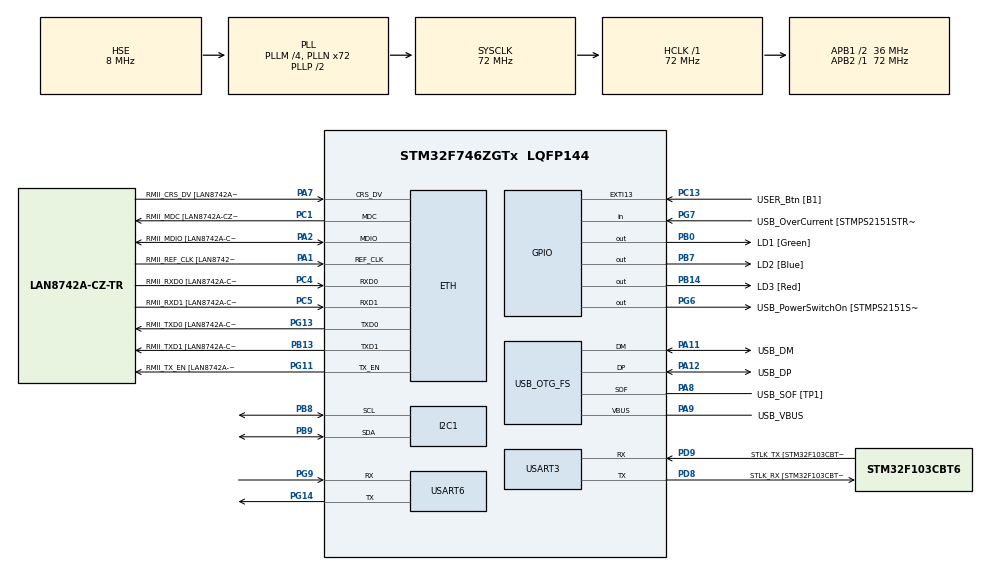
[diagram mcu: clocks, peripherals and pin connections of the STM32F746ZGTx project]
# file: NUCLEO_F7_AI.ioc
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CORTEX_M7.default_mode_Activation=1
ETH.MediaInterface=HAL_ETH_RMII_MODE
ETH.PHY_Name=LAN8742A_PHY_ADDRESS
ETH.PHY_Value=0
ETH.PhyAddress=0
I2C1.Timing=0x00808CD2
Mcu.Family=STM32F7
Mcu.Name=STM32F746ZGTx
Mcu.Package=LQFP144
NVIC.PriorityGroup=NVIC_PRIORITYGROUP_4
PA1.GPIO_Label=RMII_REF_CLK [LAN8742A-CZ-TR_REFCLK0]
PA1.Mode=RMII
PA1.Signal=ETH_REF_CLK
PA10.GPIO_Label=USB_ID
PA10.Signal=USB_OTG_FS_ID
PA11.GPIO_Label=USB_DM
PA11.Mode=Device_Only
PA11.Signal=USB_OTG_FS_DM
PA12.GPIO_Label=USB_DP
PA12.Mode=Device_Only
PA12.Signal=USB_OTG_FS_DP
PA13.GPIO_Label=TMS
PA13.Mode=Serial_Wire
PA13.Signal=SYS_JTMS-SWDIO
PA14.GPIO_Label=TCK
PA14.Mode=Serial_Wire
PA14.Signal=SYS_JTCK-SWCLK
PA2.GPIO_Label=RMII_MDIO [LAN8742A-CZ-TR_MDIO]
PA2.Mode=RMII
PA2.Signal=ETH_MDIO
PA7.GPIO_Label=RMII_CRS_DV [LAN8742A-CZ-TR_CRS_DV]
PA7.Mode=RMII
PA7.Signal=ETH_CRS_DV
PA8.GPIO_Label=USB_SOF [TP1]
PA8.Mode=Activate_SOF_FS
PA8.Signal=USB_OTG_FS_SOF
PA9.GPIO_Label=USB_VBUS
PA9.Mode=Activate_VBUS
PA9.Signal=USB_OTG_FS_VBUS
PB0.GPIO_Label=LD1 [Green]
PB0.Signal=GPIO_Output
PB13.GPIO_Label=RMII_TXD1 [LAN8742A-CZ-TR_TXD1]
PB13.Mode=RMII
PB13.Signal=ETH_TXD1
PB14.GPIO_Label=LD3 [Red]
PB14.Signal=GPIO_Output
PB3.GPIO_Label=SW0
PB3.Signal=SYS_JTDO-SWO
PB7.GPIO_Label=LD2 [Blue]
PB7.Signal=GPIO_Output
PB8.Mode=I2C
PB8.Signal=I2C1_SCL
PB9.Mode=I2C
PB9.Signal=I2C1_SDA
PC1.GPIO_Label=RMII_MDC [LAN8742A-CZ-TR_MDC]
PC1.Mode=RMII
PC1.Signal=ETH_MDC
PC13.GPIO_Label=USER_Btn [B1]
PC13.Signal=GPXTI13
PC14/OSC32_IN.Mode=LSE-External-Oscillator
PC14/OSC32_IN.Signal=RCC_OSC32_IN
PC15/OSC32_OUT.Mode=LSE-External-Oscillator
PC15/OSC32_OUT.Signal=RCC_OSC32_OUT
PC4.GPIO_Label=RMII_RXD0 [LAN8742A-CZ-TR_RXD0]
PC4.Mode=RMII
PC4.Signal=ETH_RXD0
PC5.GPIO_Label=RMII_RXD1 [LAN8742A-CZ-TR_RXD1]
PC5.Mode=RMII
PC5.Signal=ETH_RXD1
PD8.GPIO_Label=STLK_RX [STM32F103CBT6_PA3]
PD8.GPIO_PuPd=GPIO_PULLUP
PD8.Mode=Asynchronous
PD8.Signal=USART3_TX
PD9.GPIO_Label=STLK_TX [STM32F103CBT6_PA2]
PD9.GPIO_PuPd=GPIO_PULLUP
PD9.Mode=Asynchronous
PD9.Signal=USART3_RX
PG11.GPIO_Label=RMII_TX_EN [LAN8742A-CZ-TR_TXEN]
PG11.Mode=RMII
PG11.Signal=ETH_TX_EN
PG13.GPIO_Label=RMII_TXD0 [LAN8742A-CZ-TR_TXD0]
PG13.Mode=RMII
PG13.Signal=ETH_TXD0
PG14.Mode=Asynchronous
PG14.Signal=USART6_TX
PG6.GPIO_Label=USB_PowerSwitchOn [STMPS2151STR_EN]
PG6.Signal=GPIO_Output
PG7.GPIO_Label=USB_OverCurrent [STMPS2151STR_FAULT]
PG7.Signal=GPIO_Input
PG9.Mode=Asynchronous
PG9.Signal=USART6_RX
PH0/OSC_IN.GPIO_Label=MCO [STM32F103CBT6_PA8]
PH0/OSC_IN.Mode=HSE-External-Clock-Source
PH0/OSC_IN.Signal=RCC_OSC_IN
PH1/OSC_OUT.Mode=HSE-External-Clock-Source
PH1/OSC_OUT.Signal=RCC_OSC_OUT
ProjectManager.HeapSize=0x200
ProjectManager.StackSize=0x400
ProjectManager.TargetToolchain=STM32CubeIDE
RCC.48MHZClocksFreq_Value=24000000
RCC.AHBFreq_Value=72000000
RCC.APB1CLKDivider=RCC_HCLK_DIV2
RCC.APB1Freq_Value=36000000
RCC.APB1TimFreq_Value=72000000
RCC.APB2Freq_Value=72000000
RCC.APB2TimFreq_Value=72000000
RCC.CortexFreq_Value=72000000
RCC.HCLKFreq_Value=72000000
RCC.HSE_VALUE=8000000
RCC.HSI_VALUE=16000000
RCC.PLLM=4
RCC.PLLMUL=RCC_PLL_MUL9
RCC.PLLN=72
RCC.PLLQ=3
RCC.PRESCALERUSB=RCC_USBCLKSOURCE_PLL_DIV1_5
RCC.SYSCLKFreq_VALUE=72000000
RCC.SYSCLKSource=RCC_SYSCLKSOURCE_PLLCLK
RCC.SYSCLKSourceVirtual=RCC_SYSCLKSOURCE_PLLCLK
RCC.USBFreq_Value=48000000
RCC.VCOOutputFreq_Value=144000000
USART3.VirtualMode-Asynchronous=VM_ASYNC
USART6.VirtualMode-Asynchronous=VM_ASYNC
USB_OTG_FS.VirtualMode=Device_Only
board=NUCLEO-F746ZG

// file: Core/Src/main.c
/* USER CODE BEGIN Header */
/**
  ******************************************************************************
  * @file           : main.c
  * @brief          : Main program body
  ******************************************************************************
  * @attention
  *
  * Copyright (c) 2026 STMicroelectronics.
  * All rights reserved.
  *
  * This software is licensed under terms that can be found in the LICENSE file
  * in the root directory of this software component.
  * If no LICENSE file comes with this software, it is provided AS-IS.
  *
  ******************************************************************************
  */
/* USER CODE END Header */
#include "main.h"
#include "string.h"

/* USER CODE BEGIN Includes */

#include "ai_model.h"
#include "radar_live.h"
#include <math.h>
#include <stdio.h>

/* USER CODE END Includes */

#if defined ( __ICCARM__ ) /*!< IAR Compiler */
#pragma location=0x2004c000
ETH_DMADescTypeDef  DMARxDscrTab[ETH_RX_DESC_CNT]; /* Ethernet Rx DMA Descriptors */
#pragma location=0x2004c0a0
ETH_DMADescTypeDef  DMATxDscrTab[ETH_TX_DESC_CNT]; /* Ethernet Tx DMA Descriptors */

#elif defined ( __CC_ARM )  /* MDK ARM Compiler */

__attribute__((at(0x2004c000))) ETH_DMADescTypeDef  DMARxDscrTab[ETH_RX_DESC_CNT]; /* Ethernet Rx DMA Descriptors */
__attribute__((at(0x2004c0a0))) ETH_DMADescTypeDef  DMATxDscrTab[ETH_TX_DESC_CNT]; /* Ethernet Tx DMA Descriptors */

#elif defined ( __GNUC__ ) /* GNU Compiler */

ETH_DMADescTypeDef DMARxDscrTab[ETH_RX_DESC_CNT] __attribute__((section(".RxDecripSection"))); /* Ethernet Rx DMA Descriptors */
ETH_DMADescTypeDef DMATxDscrTab[ETH_TX_DESC_CNT] __attribute__((section(".TxDecripSection")));   /* Ethernet Tx DMA Descriptors */
#endif

ETH_TxPacketConfig TxConfig;

ETH_HandleTypeDef heth;

I2C_HandleTypeDef hi2c1;

UART_HandleTypeDef huart3;
UART_HandleTypeDef huart6;

PCD_HandleTypeDef hpcd_USB_OTG_FS;

/* USER CODE BEGIN PV */

#define RADAR_RX_RING_SIZE 2048U
#define RESULT_REPORT_PERIOD_MS 500U
#define RADAR_VERBOSE_DIAGNOSTICS 0U

#define RESULT_NON_FALL 0U
#define RESULT_CANDIDATE 1U
#define RESULT_FALL 2U
#define RESULT_TOO_CLOSE 3U
#define RESULT_TOO_FAR 4U
#define RESULT_STALE_DATA 5U
#define RESULT_EDGE_OF_FOV 6U

#define FALL_PROBABILITY_THRESHOLD 0.65f
#define FALL_REQUIRED_WINDOWS 2U
#define FALL_MIN_HEIGHT_DROP_M 0.30f
#define FALL_MAX_POST_Z_M (-0.70f)
#define FALL_MIN_DOWNWARD_FRACTION 0.52f
#define FALL_POST_MOTION_MAX_M 0.16f
#define FALL_CANDIDATE_TIMEOUT_MS 3000U
#define FALL_MIN_LATCH_MS 5000U
#define FALL_CLEAR_WINDOWS 3U
#define RADAR_TARGET_STALE_MS 250U
#define RADAR_ALERT_AZIMUTH_LIMIT_DEG 50.0f

static uint8_t radar_rx_byte;
static uint8_t radar_rx_ring[RADAR_RX_RING_SIZE];
static volatile uint16_t radar_rx_head;
static volatile uint16_t radar_rx_tail;
static volatile uint32_t radar_rx_dropped;
static uint8_t bridge_ready_message[] =
    "\r\nNUCLEO_F7_AI live binary detector ready\r\n"
    "classes=[NON_FALL,FALL] input=60x7 sample_rate=20Hz z_mode=SENSOR_NATIVE\r\n"
    "target_selection=cluster_continuity zero_targets=RESET_WINDOW\r\n"
    "alert_policy=p65+2windows+30cm_drop+low_posture+stable+center_fov latch=5s\r\n";
static char ai_status_message[320];
static float ai_self_test_output[AI_MODEL_OUTPUT_COUNT];
static float ai_live_output[AI_MODEL_OUTPUT_COUNT];
static uint8_t ai_ready;
static RadarLiveDiagnostics radar_diagnostics;
static uint8_t last_reported_result = 0xFFU;
static uint32_t last_result_report_ms;
static uint8_t fall_state;
static uint8_t fall_positive_streak;
static uint8_t fall_clear_streak;
static uint32_t fall_candidate_started_ms;
static uint32_t fall_confirmed_ms;

/* USER CODE END PV */

void SystemClock_Config(void);
static void MPU_Config(void);
static void MX_GPIO_Init(void);
static void MX_ETH_Init(void);
static void MX_I2C1_Init(void);
static void MX_USART3_UART_Init(void);
static void MX_USB_OTG_FS_PCD_Init(void);
static void MX_USART6_UART_Init(void);

/* USER CODE BEGIN 0 */

static int32_t FloatToMicroUnits(float value)
{
  if (value >= 0.0f)
  {
    return (int32_t)((value * 1000000.0f) + 0.5f);
  }
  return (int32_t)((value * 1000000.0f) - 0.5f);
}

static uint32_t FallProbabilityPermille(float non_fall_logit, float fall_logit)
{
  float margin = fall_logit - non_fall_logit;
  float probability;

  if (margin >= 0.0f)
  {
    probability = 1.0f / (1.0f + expf(-margin));
  }
  else
  {
    float exponential = expf(margin);
    probability = exponential / (1.0f + exponential);
  }
  return (uint32_t)((probability * 1000.0f) + 0.5f);
}

static void ResetFallConfirmation(void)
{
  fall_state = RESULT_NON_FALL;
  fall_positive_streak = 0U;
  fall_clear_streak = 0U;
  fall_candidate_started_ms = 0U;
  fall_confirmed_ms = 0U;
}

static uint8_t UpdateFallConfirmation(uint32_t now_ms,
                                      uint32_t fall_probability_permille,
                                      const RadarLiveDiagnostics *diagnostics)
{
  uint8_t raw_fall =
      (fall_probability_permille >=
       (uint32_t)(FALL_PROBABILITY_THRESHOLD * 1000.0f)) ? 1U : 0U;
  uint8_t geometry_confirmed =
      ((diagnostics->height_drop >= FALL_MIN_HEIGHT_DROP_M) &&
       (diagnostics->post_event_z_median <= FALL_MAX_POST_Z_M) &&
       (diagnostics->downward_fraction >= FALL_MIN_DOWNWARD_FRACTION) &&
       (diagnostics->post_motion_median <= FALL_POST_MOTION_MAX_M)) ? 1U : 0U;

  if (raw_fall != 0U)
  {
    if (fall_positive_streak < 255U)
      ++fall_positive_streak;
    fall_clear_streak = 0U;
  }
  else
  {
    fall_positive_streak = 0U;
    if (fall_clear_streak < 255U)
      ++fall_clear_streak;
  }

  if (fall_state == RESULT_NON_FALL)
  {
    if (fall_positive_streak >= FALL_REQUIRED_WINDOWS)
    {
      fall_state = RESULT_CANDIDATE;
      fall_candidate_started_ms = now_ms;
    }
  }

  if (fall_state == RESULT_CANDIDATE)
  {
    if (geometry_confirmed != 0U)
    {
      fall_state = RESULT_FALL;
      fall_confirmed_ms = now_ms;
      fall_clear_streak = 0U;
    }
    else if ((now_ms - fall_candidate_started_ms) >= FALL_CANDIDATE_TIMEOUT_MS)
    {
      ResetFallConfirmation();
    }
  }
  else if (fall_state == RESULT_FALL)
  {
    if (((now_ms - fall_confirmed_ms) >= FALL_MIN_LATCH_MS) &&
        (fall_clear_streak >= FALL_CLEAR_WINDOWS))
    {
      ResetFallConfirmation();
    }
  }

  return fall_state;
}

void HAL_UART_RxCpltCallback(UART_HandleTypeDef *huart)
{
  if (huart->Instance == USART6)
  {
    uint16_t next_head = (uint16_t)((radar_rx_head + 1U) % RADAR_RX_RING_SIZE);
    if (next_head != radar_rx_tail)
    {
      radar_rx_ring[radar_rx_head] = radar_rx_byte;
      radar_rx_head = next_head;
    }
    else
    {
      ++radar_rx_dropped;
    }
    (void)HAL_UART_Receive_IT(&huart6, &radar_rx_byte, 1U);
  }
}

void HAL_UART_ErrorCallback(UART_HandleTypeDef *huart)
{
  if (huart->Instance == USART6)
  {
    __HAL_UART_CLEAR_OREFLAG(huart);
    (void)HAL_UART_Receive_IT(&huart6, &radar_rx_byte, 1U);
  }
}

/* USER CODE END 0 */

int main(void)
{

  /* MPU Configuration--------------------------------------------------------*/
  MPU_Config();

  /* MCU Configuration--------------------------------------------------------*/

  /* Reset of all peripherals, Initializes the Flash interface and the Systick. */
  HAL_Init();

  /* Configure the system clock */
  SystemClock_Config();

  /* Initialize all configured peripherals */
  MX_GPIO_Init();
  MX_ETH_Init();
  MX_I2C1_Init();
  MX_USART3_UART_Init();
  MX_USB_OTG_FS_PCD_Init();
  MX_USART6_UART_Init();
  /* USER CODE BEGIN 2 */

  HAL_UART_Transmit(&huart3, bridge_ready_message,
                    sizeof(bridge_ready_message) - 1U, 1000U);

  {
    int32_t ai_status = AI_Model_Init();
    if (ai_status == 0)
    {
      ai_status = AI_Model_RunSelfTest(ai_self_test_output);
    }

    if (ai_status == 0)
    {
      ai_ready = 1U;
      int32_t logit_0 = FloatToMicroUnits(ai_self_test_output[0]);
      int32_t logit_1 = FloatToMicroUnits(ai_self_test_output[1]);
      uint32_t predicted_class =
          (ai_self_test_output[1] > ai_self_test_output[0]) ? 1U : 0U;
      int message_length = snprintf(
          ai_status_message, sizeof(ai_status_message),
          "AI SELFTEST OK input=60x7 logits_x1e6=[%ld,%ld] class=%lu\r\n",
          (long)logit_0, (long)logit_1, (unsigned long)predicted_class);
      if (message_length > 0)
      {
        HAL_UART_Transmit(&huart3, (uint8_t *)ai_status_message,
                          (uint16_t)message_length, 1000U);
      }
    }
    else
    {
      int message_length = snprintf(
          ai_status_message, sizeof(ai_status_message),
          "AI SELFTEST ERROR code=%ld\r\n", (long)ai_status);
      if (message_length > 0)
      {
        HAL_UART_Transmit(&huart3, (uint8_t *)ai_status_message,
                          (uint16_t)message_length, 1000U);
      }
    }
  }

  RadarLive_Init();
  HAL_NVIC_SetPriority(USART6_IRQn, 5U, 0U);
  HAL_NVIC_EnableIRQ(USART6_IRQn);
  (void)HAL_UART_Receive_IT(&huart6, &radar_rx_byte, 1U);

  /* USER CODE END 2 */

  /* Infinite loop */
  /* USER CODE BEGIN WHILE */
  while (1)
  {
    RadarLiveEvent event;
    /* USER CODE END WHILE */

    /* USER CODE BEGIN 3 */
    if (radar_rx_tail != radar_rx_head)
    {
      uint8_t received_byte = radar_rx_ring[radar_rx_tail];
      radar_rx_tail = (uint16_t)((radar_rx_tail + 1U) % RADAR_RX_RING_SIZE);
      (void)RadarLive_ProcessByte(received_byte, HAL_GetTick());
    }

    event = RadarLive_Tick(HAL_GetTick());
    if (event == RADAR_LIVE_TARGET_LOST)
      {
        int message_length;
        ResetFallConfirmation();
        last_reported_result = RESULT_STALE_DATA;
        message_length = snprintf(
            ai_status_message, sizeof(ai_status_message),
            "RESULT=NO_TARGET action=WAIT_FOR_REACQUIRE window=RESET\r\n");
        if (message_length > 0)
        {
          HAL_UART_Transmit(&huart3, (uint8_t *)ai_status_message,
                            (uint16_t)message_length, 1000U);
        }
      }
    else if (event == RADAR_LIVE_INFERENCE_READY && ai_ready != 0U)
      {
        int32_t ai_status = AI_Model_Run(RadarLive_GetModelInput(), ai_live_output);
        if (ai_status == 0)
        {
          uint8_t effective_result;
          uint32_t now_ms = HAL_GetTick();
          uint32_t fall_probability_permille =
              FallProbabilityPermille(ai_live_output[0], ai_live_output[1]);
          uint8_t raw_fall =
              (fall_probability_permille >=
               (uint32_t)(FALL_PROBABILITY_THRESHOLD * 1000.0f)) ? 1U : 0U;
          RadarLive_GetDiagnostics(&radar_diagnostics);
          if (radar_diagnostics.latest_target_age_ms > RADAR_TARGET_STALE_MS)
          {
            ResetFallConfirmation();
            effective_result = RESULT_STALE_DATA;
          }
          else if (radar_diagnostics.range_quality == RADAR_RANGE_TOO_CLOSE)
          {
            ResetFallConfirmation();
            effective_result = RESULT_TOO_CLOSE;
          }
          else if (radar_diagnostics.range_quality == RADAR_RANGE_TOO_FAR)
          {
            ResetFallConfirmation();
            effective_result = RESULT_TOO_FAR;
          }
          else if (fabsf(radar_diagnostics.latest_azimuth_deg) >
                   RADAR_ALERT_AZIMUTH_LIMIT_DEG)
          {
            ResetFallConfirmation();
            effective_result = RESULT_EDGE_OF_FOV;
          }
          else
          {
            effective_result = UpdateFallConfirmation(
                now_ms, fall_probability_permille, &radar_diagnostics);
          }

          /* Invalid radar data and out-of-range output are never fall alerts. */
          if ((effective_result != last_reported_result) ||
              ((now_ms - last_result_report_ms) >= RESULT_REPORT_PERIOD_MS))
          {
            int message_length;
            if (effective_result == RESULT_STALE_DATA)
            {
              message_length = snprintf(
                  ai_status_message, sizeof(ai_status_message),
                  "RESULT=NO_FRESH_TARGET age_ms=%lu action=CHECK_RADAR\r\n",
                  (unsigned long)radar_diagnostics.latest_target_age_ms);
            }
            else if (effective_result == RESULT_TOO_CLOSE)
            {
              message_length = snprintf(
                  ai_status_message, sizeof(ai_status_message),
                  "RESULT=TOO_CLOSE distance_cm=%ld minimum_cm=50\r\n",
                  (long)(radar_diagnostics.latest_range * 100.0f));
            }
            else if (effective_result == RESULT_TOO_FAR)
            {
              message_length = snprintf(
                  ai_status_message, sizeof(ai_status_message),
                  "RESULT=TOO_FAR distance_cm=%ld action=MOVE_CLOSER\r\n",
                  (long)(radar_diagnostics.latest_range * 100.0f));
            }
            else if (effective_result == RESULT_EDGE_OF_FOV)
            {
              message_length = snprintf(
                  ai_status_message, sizeof(ai_status_message),
                  "RESULT=EDGE_OF_FOV azimuth_deg=%ld action=RETURN_TO_CENTER\r\n",
                  (long)radar_diagnostics.latest_azimuth_deg);
            }
            else
            {
              const char *result_name =
                  (effective_result == RESULT_FALL) ? "FALL" :
                  ((effective_result == RESULT_CANDIDATE) ? "CANDIDATE" :
                                                           "NON_FALL");
              message_length = snprintf(
                  ai_status_message, sizeof(ai_status_message),
                  "RESULT=%s raw=%s p_fall=%lu.%lu%% streak=%u targets=%lu cluster=%ld drop_cm=%ld post_z_cm=%ld down_pct=%ld motion_cm=%ld az_deg=%ld xyz_cm=[%ld,%ld,%ld]\r\n",
                  result_name, raw_fall ? "FALL" : "NON_FALL",
                  (unsigned long)(fall_probability_permille / 10U),
                  (unsigned long)(fall_probability_permille % 10U),
                  (unsigned int)fall_positive_streak,
                  (unsigned long)radar_diagnostics.latest_target_count,
                  (long)radar_diagnostics.latest_cluster_id,
                  (long)(radar_diagnostics.height_drop * 100.0f),
                  (long)(radar_diagnostics.post_event_z_median * 100.0f),
                  (long)(radar_diagnostics.downward_fraction * 100.0f),
                  (long)(radar_diagnostics.post_motion_median * 100.0f),
                  (long)radar_diagnostics.latest_azimuth_deg,
                  (long)(radar_diagnostics.latest_x * 100.0f),
                  (long)(radar_diagnostics.latest_y * 100.0f),
                  (long)(radar_diagnostics.latest_z * 100.0f));
            }

            last_reported_result = effective_result;
            last_result_report_ms = now_ms;
            if (message_length > 0)
            {
              HAL_UART_Transmit(&huart3, (uint8_t *)ai_status_message,
                                (uint16_t)message_length, 1000U);
            }
          }

#if RADAR_VERBOSE_DIAGNOSTICS
          {
            int message_length = snprintf(
                ai_status_message, sizeof(ai_status_message),
                "DEBUG range_mm=%ld sensor_z_mm=%ld model_z_mm=%ld dt_ms=%lu age_ms=%lu frames=%lu invalid=%lu dropped=%lu\r\n",
                (long)(radar_diagnostics.latest_range * 1000.0f),
                (long)(radar_diagnostics.latest_sensor_z * 1000.0f),
                (long)(radar_diagnostics.latest_z * 1000.0f),
                (unsigned long)radar_diagnostics.last_sample_interval_ms,
                (unsigned long)radar_diagnostics.latest_target_age_ms,
                (unsigned long)RadarLive_GetValidFrameCount(),
                (unsigned long)RadarLive_GetInvalidFrameCount(),
                (unsigned long)radar_rx_dropped);
            if (message_length > 0)
            {
              HAL_UART_Transmit(&huart3, (uint8_t *)ai_status_message,
                                (uint16_t)message_length, 1000U);
            }
          }
#endif
        }
        else
        {
          int message_length = snprintf(
              ai_status_message, sizeof(ai_status_message),
              "AI LIVE ERROR code=%ld\r\n", (long)ai_status);
          if (message_length > 0)
          {
            HAL_UART_Transmit(&huart3, (uint8_t *)ai_status_message,
                              (uint16_t)message_length, 1000U);
          }
        }
      }
    else if (event == RADAR_LIVE_SAMPLE_ADDED &&
               (RadarLive_GetWindowCount() % 10U) == 0U &&
               RadarLive_GetWindowCount() < AI_MODEL_FRAME_COUNT)
      {
        RadarLive_GetDiagnostics(&radar_diagnostics);
        int message_length = snprintf(
            ai_status_message, sizeof(ai_status_message),
            "WARMUP %lu/60\r\n",
            (unsigned long)RadarLive_GetWindowCount());
        if (message_length > 0)
        {
          HAL_UART_Transmit(&huart3, (uint8_t *)ai_status_message,
                            (uint16_t)message_length, 1000U);
        }
      }
  }
  /* USER CODE END 3 */
}

void SystemClock_Config(void)
{
  RCC_OscInitTypeDef RCC_OscInitStruct = {0};
  RCC_ClkInitTypeDef RCC_ClkInitStruct = {0};

  /** Configure LSE Drive Capability
  */
  HAL_PWR_EnableBkUpAccess();

  /** Configure the main internal regulator output voltage
  */
  __HAL_RCC_PWR_CLK_ENABLE();
  __HAL_PWR_VOLTAGESCALING_CONFIG(PWR_REGULATOR_VOLTAGE_SCALE3);

  /** Initializes the RCC Oscillators according to the specified parameters
  * in the RCC_OscInitTypeDef structure.
  */
  RCC_OscInitStruct.OscillatorType = RCC_OSCILLATORTYPE_HSE;
  RCC_OscInitStruct.HSEState = RCC_HSE_BYPASS;
  RCC_OscInitStruct.PLL.PLLState = RCC_PLL_ON;
  RCC_OscInitStruct.PLL.PLLSource = RCC_PLLSOURCE_HSE;
  RCC_OscInitStruct.PLL.PLLM = 4;
  RCC_OscInitStruct.PLL.PLLN = 72;
  RCC_OscInitStruct.PLL.PLLP = RCC_PLLP_DIV2;
  RCC_OscInitStruct.PLL.PLLQ = 3;
  if (HAL_RCC_OscConfig(&RCC_OscInitStruct) != HAL_OK)
  {
    Error_Handler();
  }

  /** Initializes the CPU, AHB and APB buses clocks
  */
  RCC_ClkInitStruct.ClockType = RCC_CLOCKTYPE_HCLK|RCC_CLOCKTYPE_SYSCLK
                              |RCC_CLOCKTYPE_PCLK1|RCC_CLOCKTYPE_PCLK2;
  RCC_ClkInitStruct.SYSCLKSource = RCC_SYSCLKSOURCE_PLLCLK;
  RCC_ClkInitStruct.AHBCLKDivider = RCC_SYSCLK_DIV1;
  RCC_ClkInitStruct.APB1CLKDivider = RCC_HCLK_DIV2;
  RCC_ClkInitStruct.APB2CLKDivider = RCC_HCLK_DIV1;

  if (HAL_RCC_ClockConfig(&RCC_ClkInitStruct, FLASH_LATENCY_2) != HAL_OK)
  {
    Error_Handler();
  }
}

static void MX_ETH_Init(void)
{

   static uint8_t MACAddr[6];

  heth.Instance = ETH;
  MACAddr[0] = 0x00;
  MACAddr[1] = 0x80;
  MACAddr[2] = 0xE1;
  MACAddr[3] = 0x00;
  MACAddr[4] = 0x00;
  MACAddr[5] = 0x00;
  heth.Init.MACAddr = &MACAddr[0];
  heth.Init.MediaInterface = HAL_ETH_RMII_MODE;
  heth.Init.TxDesc = DMATxDscrTab;
  heth.Init.RxDesc = DMARxDscrTab;
  heth.Init.RxBuffLen = 1524;

  if (HAL_ETH_Init(&heth) != HAL_OK)
  {
    Error_Handler();
  }

  memset(&TxConfig, 0 , sizeof(ETH_TxPacketConfig));
  TxConfig.Attributes = ETH_TX_PACKETS_FEATURES_CSUM | ETH_TX_PACKETS_FEATURES_CRCPAD;
  TxConfig.ChecksumCtrl = ETH_CHECKSUM_IPHDR_PAYLOAD_INSERT_PHDR_CALC;
  TxConfig.CRCPadCtrl = ETH_CRC_PAD_INSERT;

}

static void MX_I2C1_Init(void)
{

  hi2c1.Instance = I2C1;
  hi2c1.Init.Timing = 0x00808CD2;
  hi2c1.Init.OwnAddress1 = 0;
  hi2c1.Init.AddressingMode = I2C_ADDRESSINGMODE_7BIT;
  hi2c1.Init.DualAddressMode = I2C_DUALADDRESS_DISABLE;
  hi2c1.Init.OwnAddress2 = 0;
  hi2c1.Init.OwnAddress2Masks = I2C_OA2_NOMASK;
  hi2c1.Init.GeneralCallMode = I2C_GENERALCALL_DISABLE;
  hi2c1.Init.NoStretchMode = I2C_NOSTRETCH_DISABLE;
  if (HAL_I2C_Init(&hi2c1) != HAL_OK)
  {
    Error_Handler();
  }

  /** Configure Analogue filter
  */
  if (HAL_I2CEx_ConfigAnalogFilter(&hi2c1, I2C_ANALOGFILTER_ENABLE) != HAL_OK)
  {
    Error_Handler();
  }

  /** Configure Digital filter
  */
  if (HAL_I2CEx_ConfigDigitalFilter(&hi2c1, 0) != HAL_OK)
  {
    Error_Handler();
  }

}

static void MX_USART3_UART_Init(void)
{

  huart3.Instance = USART3;
  huart3.Init.BaudRate = 115200;
  huart3.Init.WordLength = UART_WORDLENGTH_8B;
  huart3.Init.StopBits = UART_STOPBITS_1;
  huart3.Init.Parity = UART_PARITY_NONE;
  huart3.Init.Mode = UART_MODE_TX_RX;
  huart3.Init.HwFlowCtl = UART_HWCONTROL_NONE;
  huart3.Init.OverSampling = UART_OVERSAMPLING_16;
  huart3.Init.OneBitSampling = UART_ONE_BIT_SAMPLE_DISABLE;
  huart3.AdvancedInit.AdvFeatureInit = UART_ADVFEATURE_NO_INIT;
  if (HAL_UART_Init(&huart3) != HAL_OK)
  {
    Error_Handler();
  }

}

static void MX_USART6_UART_Init(void)
{

  huart6.Instance = USART6;
  huart6.Init.BaudRate = 115200;
  huart6.Init.WordLength = UART_WORDLENGTH_8B;
  huart6.Init.StopBits = UART_STOPBITS_1;
  huart6.Init.Parity = UART_PARITY_NONE;
  huart6.Init.Mode = UART_MODE_TX_RX;
  huart6.Init.HwFlowCtl = UART_HWCONTROL_NONE;
  huart6.Init.OverSampling = UART_OVERSAMPLING_16;
  huart6.Init.OneBitSampling = UART_ONE_BIT_SAMPLE_DISABLE;
  huart6.AdvancedInit.AdvFeatureInit = UART_ADVFEATURE_NO_INIT;
  if (HAL_UART_Init(&huart6) != HAL_OK)
  {
    Error_Handler();
  }

}

static void MX_USB_OTG_FS_PCD_Init(void)
{

  hpcd_USB_OTG_FS.Instance = USB_OTG_FS;
  hpcd_USB_OTG_FS.Init.dev_endpoints = 6;
  hpcd_USB_OTG_FS.Init.speed = PCD_SPEED_FULL;
  hpcd_USB_OTG_FS.Init.dma_enable = DISABLE;
  hpcd_USB_OTG_FS.Init.phy_itface = PCD_PHY_EMBEDDED;
  hpcd_USB_OTG_FS.Init.Sof_enable = ENABLE;
  hpcd_USB_OTG_FS.Init.low_power_enable = DISABLE;
  hpcd_USB_OTG_FS.Init.lpm_enable = DISABLE;
  hpcd_USB_OTG_FS.Init.vbus_sensing_enable = ENABLE;
  hpcd_USB_OTG_FS.Init.use_dedicated_ep1 = DISABLE;
  if (HAL_PCD_Init(&hpcd_USB_OTG_FS) != HAL_OK)
  {
    Error_Handler();
  }

}

static void MX_GPIO_Init(void)
{
  GPIO_InitTypeDef GPIO_InitStruct = {0};

  /* GPIO Ports Clock Enable */
  __HAL_RCC_GPIOC_CLK_ENABLE();
  __HAL_RCC_GPIOH_CLK_ENABLE();
  __HAL_RCC_GPIOA_CLK_ENABLE();
  __HAL_RCC_GPIOB_CLK_ENABLE();
  __HAL_RCC_GPIOD_CLK_ENABLE();
  __HAL_RCC_GPIOG_CLK_ENABLE();

  /*Configure GPIO pin Output Level */
  HAL_GPIO_WritePin(GPIOB, LD1_Pin|LD3_Pin|LD2_Pin, GPIO_PIN_RESET);

  /*Configure GPIO pin Output Level */
  HAL_GPIO_WritePin(USB_PowerSwitchOn_GPIO_Port, USB_PowerSwitchOn_Pin, GPIO_PIN_RESET);

  /*Configure GPIO pin : USER_Btn_Pin */
  GPIO_InitStruct.Pin = USER_Btn_Pin;
  GPIO_InitStruct.Mode = GPIO_MODE_IT_RISING;
  GPIO_InitStruct.Pull = GPIO_NOPULL;
  HAL_GPIO_Init(USER_Btn_GPIO_Port, &GPIO_InitStruct);

  /*Configure GPIO pins : LD1_Pin LD3_Pin LD2_Pin */
  GPIO_InitStruct.Pin = LD1_Pin|LD3_Pin|LD2_Pin;
  GPIO_InitStruct.Mode = GPIO_MODE_OUTPUT_PP;
  GPIO_InitStruct.Pull = GPIO_NOPULL;
  GPIO_InitStruct.Speed = GPIO_SPEED_FREQ_LOW;
  HAL_GPIO_Init(GPIOB, &GPIO_InitStruct);

  /*Configure GPIO pin : USB_PowerSwitchOn_Pin */
  GPIO_InitStruct.Pin = USB_PowerSwitchOn_Pin;
  GPIO_InitStruct.Mode = GPIO_MODE_OUTPUT_PP;
  GPIO_InitStruct.Pull = GPIO_NOPULL;
  GPIO_InitStruct.Speed = GPIO_SPEED_FREQ_LOW;
  HAL_GPIO_Init(USB_PowerSwitchOn_GPIO_Port, &GPIO_InitStruct);

  /*Configure GPIO pin : USB_OverCurrent_Pin */
  GPIO_InitStruct.Pin = USB_OverCurrent_Pin;
  GPIO_InitStruct.Mode = GPIO_MODE_INPUT;
  GPIO_InitStruct.Pull = GPIO_NOPULL;
  HAL_GPIO_Init(USB_OverCurrent_GPIO_Port, &GPIO_InitStruct);

}

 /* MPU Configuration */

void MPU_Config(void)
{
  MPU_Region_InitTypeDef MPU_InitStruct = {0};

  /* Disables the MPU */
  HAL_MPU_Disable();

  /** Initializes and configures the Region and the memory to be protected
  */
  MPU_InitStruct.Enable = MPU_REGION_ENABLE;
  MPU_InitStruct.Number = MPU_REGION_NUMBER0;
  MPU_InitStruct.BaseAddress = 0x0;
  MPU_InitStruct.Size = MPU_REGION_SIZE_4GB;
  MPU_InitStruct.SubRegionDisable = 0x87;
  MPU_InitStruct.TypeExtField = MPU_TEX_LEVEL0;
  MPU_InitStruct.AccessPermission = MPU_REGION_NO_ACCESS;
  MPU_InitStruct.DisableExec = MPU_INSTRUCTION_ACCESS_DISABLE;
  MPU_InitStruct.IsShareable = MPU_ACCESS_SHAREABLE;
  MPU_InitStruct.IsCacheable = MPU_ACCESS_NOT_CACHEABLE;
  MPU_InitStruct.IsBufferable = MPU_ACCESS_NOT_BUFFERABLE;

  HAL_MPU_ConfigRegion(&MPU_InitStruct);
  /* Enables the MPU */
  HAL_MPU_Enable(MPU_PRIVILEGED_DEFAULT);

}

void Error_Handler(void)
{
  __disable_irq();
  while (1)
  {
  }
}
